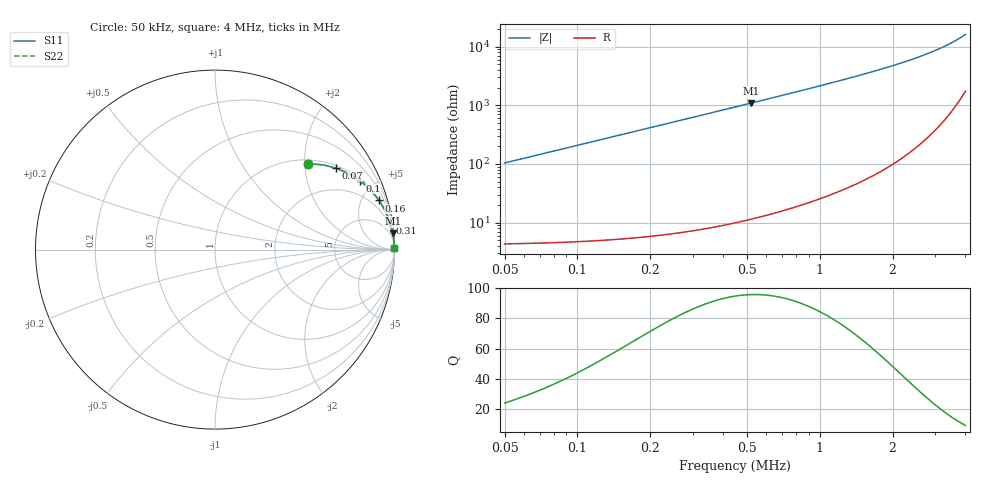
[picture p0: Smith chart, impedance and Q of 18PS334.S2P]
! Coilcraft 1812PS-334 Power Chip Inductor
! 1 October 2002
# MHZ S MA R 50
!Freq  MagS11  AngS11  MagS21  AngS21  MagS12  AngS12  MagS22  AngS22
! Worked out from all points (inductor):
!   396 points, 50 kHz to 4 MHz, reference 50 ohm
!   read as one part in series: L = 330 uH near 60 kHz
!   highest Q = 95.7 at 520 kHz (marker M1), where L = 333 uH
!   S11 on the Smith chart (normalised r, x): 50 kHz: 1.09, +2.07; 70 kHz: 1.09, +2.90; 100 kHz: 1.09, +4.15; 160 kHz: 1.11, +6.64; 310 kHz: 1, +13; 4 MHz: open
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0.05  0.7056 42.8  0.6799 -44.8  0.6799 -44.8  0.7056 42.8
0.06  0.7666 38.0  0.6157 -50.0  0.6157 -50.0  0.7666 38.0
0.07  0.8121 34.0  0.5592 -54.3  0.5592 -54.3  0.8121 34.0
0.08  0.8464 30.6  0.51 -57.8  0.51 -57.8  0.8464 30.6
0.1  0.8929 25.5  0.4304 -63.2  0.4304 -63.2  0.8929 25.5
0.13  0.932 20.2  0.3455 -68.7  0.3455 -68.7  0.932 20.2
0.16  0.9533 16.7  0.2871 -72.4  0.2871 -72.4  0.9533 16.7
0.19  0.966 14.2  0.2449 -75.0  0.2449 -75.0  0.966 14.2
0.23  0.9762 11.8  0.2044 -77.5  0.2044 -77.5  0.9762 11.8
0.31  0.9865 8.8  0.153 -80.5  0.153 -80.5  0.9865 8.8
0.41  0.992 6.7  0.1161 -82.7  0.1161 -82.7  0.992 6.7
0.52  0.9948 5.2  0.0915 -84.2  0.0915 -84.2  0.9948 5.2
0.61  0.9961 4.5  0.07786 -84.9  0.07786 -84.9  0.9961 4.5
0.71  0.9971 3.8  0.06668 -85.6  0.06668 -85.6  0.9971 3.8
0.85  0.9978 3.2  0.05536 -86.2  0.05536 -86.2  0.9978 3.2
1  0.9984 2.7  0.04667 -86.6  0.04667 -86.6  0.9984 2.7
1.37  0.999 1.9  0.03314 -87.3  0.03314 -87.3  0.999 1.9
1.67  0.9992 1.5  0.02639 -87.5  0.02639 -87.5  0.9992 1.5
2.03  0.9993 1.2  0.02074 -87.6  0.02074 -87.6  0.9993 1.2
2.69  0.9994 0.8  0.01395 -87.2  0.01395 -87.2  0.9994 0.8
3.35  0.9994 0.5  0.009459 -86.1  0.009459 -86.1  0.9994 0.5
4  0.9993 0.4  0.006191 -83.5  0.006191 -83.5  0.9993 0.4
